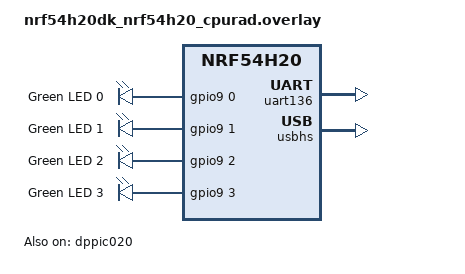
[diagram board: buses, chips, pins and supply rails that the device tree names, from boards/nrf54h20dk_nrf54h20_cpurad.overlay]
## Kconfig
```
#
# Copyright (c) 2020 Nordic Semiconductor
#
# SPDX-License-Identifier: LicenseRef-Nordic-5-Clause
#

source "Kconfig.zephyr"

menu "Enhanced ShockBurst: Receiver"

config ESB_PRX_APP_LOG_LEVEL
	int "Log level for the ESB PRX sample"
	default 4

config ESB_PRX_TX_LENGTH
	int "ACK payload length"
	range 0 ESB_MAX_PAYLOAD_LENGTH
	default 0

endmenu


menu "USB sample options"
	depends on USB_DEVICE_STACK_NEXT

config SAMPLE_USBD_MANUFACTURER
	string "USB device sample manufacturer string"
	default "Zephyr Project"
	help
	  USB device sample manufacturer string.

config SAMPLE_USBD_PRODUCT
	string "USB device sample product string"
	default "USBD sample"
	help
	  USB device sample product stringa.

config SAMPLE_USBD_PID
	hex "USB device sample Product ID"
	default 0x0001
	help
	  USB device sample Product ID.

config SAMPLE_USBD_SELF_POWERED
	bool "USB device sample Self-powered attribute"
	default y
	help
	  Set the Self-powered attribute in the sample configuration.

config SAMPLE_USBD_REMOTE_WAKEUP
	bool "USB device sample Remote Wakeup attribute"
	help
	  Set the Remote Wakeup attribute in the sample configuration.

config SAMPLE_USBD_MAX_POWER
	int "USB device sample bMaxPower value"
	default 125
	range 0 250
	help
	  bMaxPower value in the sample configuration in 2 mA units.

config SAMPLE_USBD_20_EXTENSION_DESC
	bool "Use default USB 2.0 Extension Descriptor"
	help
	  Set bcdUSB value to 0201 and use default USB 2.0 Extension Descriptor.

endmenu
```

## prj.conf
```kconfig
#
# Copyright (c) 2019 Nordic Semiconductor ASA
#
# SPDX-License-Identifier: LicenseRef-Nordic-5-Clause
#
CONFIG_NCS_SAMPLES_DEFAULTS=y
CONFIG_ESB=y
CONFIG_DK_LIBRARY=y
CONFIG_ESB_FAST_SWITCHING=y

# USB STACK NEXT
CONFIG_USB_DEVICE_STACK_NEXT=y
CONFIG_USBD_HID_SUPPORT=y
CONFIG_USBD_HID_IN_BUF_COUNT=256
CONFIG_USB_DEVICE_INITIALIZE_AT_BOOT=n
CONFIG_USBD_LOG_LEVEL_WRN=y
CONFIG_USBD_HID_LOG_LEVEL_WRN=y
CONFIG_UDC_DRIVER_LOG_LEVEL_WRN=y

CONFIG_SAMPLE_USBD_PID=0x0006
CONFIG_SAMPLE_USBD_MANUFACTURER="Nordic Semiconductor"
CONFIG_SAMPLE_USBD_PRODUCT="nRF54H20 HID"
CONFIG_NRFS_VBUS_DETECTOR_SERVICE_ENABLED=y

CONFIG_HWINFO=n
```

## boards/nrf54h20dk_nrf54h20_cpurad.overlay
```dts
/*
 * Copyright (c) 2024 Nordic Semiconductor ASA
 *
 * SPDX-License-Identifier: LicenseRef-Nordic-5-Clause
 */

 / {
	leds {
		compatible = "gpio-leds";

		led0: led_0 {
			gpios = < &gpio9 0 GPIO_ACTIVE_HIGH >;
			label = "Green LED 0";
		};

		led1: led_1 {
			gpios = < &gpio9 1 GPIO_ACTIVE_HIGH >;
			label = "Green LED 1";
		};

		led2: led_2 {
			gpios = < &gpio9 2 GPIO_ACTIVE_HIGH >;
			label = "Green LED 2";
		};

		led3: led_3 {
			gpios = < &gpio9 3 GPIO_ACTIVE_HIGH >;
			label = "Green LED 3";
		};
	};

	aliases {
		led0 = &led0;
		led1 = &led1;
		led2 = &led2;
		led3 = &led3;
	};

	chosen {
		zephyr,console = &uart136;
	};

	hid_dev_0: hid_dev_0 {
		compatible = "zephyr,hid-device";
		interface-name = "HID0";
		protocol-code = "mouse";
		in-polling-rate = <125>;
		in-report-size = <64>;
	};

};

&gpio9 {
	status = "okay";
};

&gpio0 {
	status = "okay";
};

&gpiote130 {
	owned-channels = <0 1 2 3 4 5 6 7>;
	status = "okay";
};

&uart136 {
	status = "okay";
	memory-regions = <&cpurad_dma_region>;
};

&uart135 {
	status = "disabled";
};

&dppic020 {
	status = "okay";
	source-channels = < 0 1 2 3 4 5 >;
	sink-channels = < 6 7 8 9 10 11 >;
};
zephyr_udc0: &usbhs {
	status = "okay";
};
```

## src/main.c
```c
/*
 * Copyright (c) 2018 Nordic Semiconductor ASA
 *
 * SPDX-License-Identifier: LicenseRef-Nordic-5-Clause
 */
#include <zephyr/device.h>
#include <zephyr/devicetree.h>
#if defined(CONFIG_CLOCK_CONTROL_NRF)
#include <zephyr/drivers/clock_control.h>
#include <zephyr/drivers/clock_control/nrf_clock_control.h>
#endif /* #if defined(CONFIG_CLOCK_CONTROL_NRF) */
#include <zephyr/drivers/timer/nrf_grtc_timer.h>
#include <zephyr/usb/usb_device.h>
#include <zephyr/usb/usbd.h>
// #include <zephyr/usb/class/usb_hid.h>
#include <zephyr/usb/class/usbd_hid.h>
#include <zephyr/drivers/gpio.h>
#include <zephyr/irq.h>
#include <zephyr/logging/log.h>
#include <nrf.h>
#include <esb.h>
#include <zephyr/kernel.h>
#include <zephyr/types.h>
#include <dk_buttons_and_leds.h>

LOG_MODULE_REGISTER(esb_prx, CONFIG_ESB_PRX_APP_LOG_LEVEL);

/* Print cycle time, in microseconds */
#define PRINT_CYCLE     1000000

struct print_msg {
	uint32_t rep_cnt;
	uint32_t drop_cnt;
};

#define USB_HID_MSG_REPORT      0
#define USB_HID_MSG_TIMER       1

struct usb_hid_msg {
	uint32_t type;
	uint8_t report[4];
};
static const struct gpio_dt_spec led0 = GPIO_DT_SPEC_GET(DT_ALIAS(led0), gpios);
static const struct gpio_dt_spec led3 = GPIO_DT_SPEC_GET(DT_ALIAS(led3), gpios);

static const uint8_t hid_report_desc[] = HID_MOUSE_REPORT_DESC(2);

static atomic_t usb_state = ATOMIC_INIT(0);
static K_SEM_DEFINE(report_sem, 0, 1);

static struct esb_payload rx_payload;
static struct esb_payload tx_payload = ESB_CREATE_PAYLOAD(0,
	0x10, 0x11, 0x12, 0x13, 0x14, 0x15, 0x16, 0x17);

#if CONFIG_ESB_PRX_TX_LENGTH > 0
static struct esb_payload tx_payload = ESB_CREATE_PAYLOAD(0, 0x00);

static void fill_tx_payload_data(struct esb_payload *payload)
{
	static uint8_t tx_data_next;
	uint8_t i;

	for (i = 0; i < CONFIG_ESB_PRX_TX_LENGTH; i++) {
		payload->data[i] = tx_data_next + i;
	}

	tx_data_next += CONFIG_ESB_PRX_TX_LENGTH;
}

static void fill_tx_fifo(void)
{
	int err;
#ifdef CONFIG_ESB_PRX_DATA_CHECK
	static bool tx_data_set;
#endif

	while (1) {
#ifdef CONFIG_ESB_PRX_DATA_CHECK
		if (!tx_data_set) {
			fill_tx_payload_data(&tx_payload);
		}
#endif

		err = esb_write_payload(&tx_payload);
#ifdef CONFIG_ESB_PRX_DATA_CHECK
		tx_data_set = (!err) ? false : true;
#endif
		if (err) {
			break;
		}
	}
}
#endif

K_MSGQ_DEFINE(print_msgq,
	      sizeof(struct print_msg),
	      1,
	      sizeof(uint32_t));

K_MSGQ_DEFINE(usb_hid_msgq,
	      sizeof(struct usb_hid_msg),
	      16,
	      sizeof(uint32_t));

static struct k_thread print_thread;

static K_THREAD_STACK_DEFINE(print_stack, 512);

static int32_t timer_chan;
static uint64_t timer_tick;

static int timer_target_set(void);

void event_handler(struct esb_evt const *event)
{
	int err;

	switch (event->evt_id) {
	case ESB_EVENT_TX_SUCCESS:
		break;
	case ESB_EVENT_TX_FAILED:
		break;
	case ESB_EVENT_RX_RECEIVED:
		while (!esb_read_rx_payload(&rx_payload)) {
			struct usb_hid_msg msg;

			if (rx_payload.length >= sizeof(msg.report) &&
			    atomic_test_bit(&usb_state, 0)) {
				msg.type = USB_HID_MSG_REPORT;
				memcpy(msg.report,
				       rx_payload.data,
				       sizeof(msg.report));
				err = k_msgq_put(&usb_hid_msgq, &msg, K_NO_WAIT);
				if (err) {
				}
			}
		}
        break;
	}
}

#if defined(CONFIG_CLOCK_CONTROL_NRF)
int clocks_start(void)
{
	int err;
	int res;
	struct onoff_manager *clk_mgr;
	struct onoff_client clk_cli;

	clk_mgr = z_nrf_clock_control_get_onoff(CLOCK_CONTROL_NRF_SUBSYS_HF);
	if (!clk_mgr) {
		LOG_ERR("Unable to get the Clock manager");
		return -ENXIO;
	}

	sys_notify_init_spinwait(&clk_cli.notify);

	err = onoff_request(clk_mgr, &clk_cli);
	if (err < 0) {
		LOG_ERR("Clock request failed: %d", err);
		return err;
	}

	do {
		err = sys_notify_fetch_result(&clk_cli.notify, &res);
		if (!err && res) {
			LOG_ERR("Clock could not be started: %d", res);
			return res;
		}
	} while (err);

	LOG_DBG("HF clock started");
	return 0;
}
#endif /* #if defined(CONFIG_CLOCK_CONTROL_NRF) */

int esb_initialize(void)
{
	int err;
	/* These are arbitrary default addresses. In end user products
	 * different addresses should be used for each set of devices.
	 */
	uint8_t base_addr_0[4] = {0xE7, 0xE7, 0xE7, 0xE7};
	uint8_t base_addr_1[4] = {0xC2, 0xC2, 0xC2, 0xC2};
	uint8_t addr_prefix[8] = {0xE7, 0xC2, 0xC3, 0xC4, 0xC5, 0xC6, 0xC7, 0xC8};

	struct esb_config config = ESB_DEFAULT_CONFIG;

	config.protocol = ESB_PROTOCOL_ESB_DPL;
	config.bitrate = ESB_BITRATE_4MBPS;
	config.mode = ESB_MODE_PRX;
	config.event_handler = event_handler;
	config.crc = ESB_CRC_24BIT;
	config.selective_auto_ack = true;
	if (IS_ENABLED(CONFIG_ESB_FAST_SWITCHING)) {
		config.use_fast_ramp_up = true;
	}

	err = esb_init(&config);
	if (err) {
		return err;
	}

	err = esb_set_base_address_0(base_addr_0);
	if (err) {
		return err;
	}

	err = esb_set_base_address_1(base_addr_1);
	if (err) {
		return err;
	}

	err = esb_set_prefixes(addr_prefix, ARRAY_SIZE(addr_prefix));
	if (err) {
		return err;
	}

	err = esb_set_rf_channel(80);
	if (err) {
		return err;
	}

	return 0;
}

static void timer_compare_handler(int32_t chan_id,
				  uint64_t expire_time,
				  void *user_data)
{
	timer_target_set();

	struct usb_hid_msg  msg;
	int err;

	msg.type = USB_HID_MSG_TIMER;
	err = k_msgq_put(&usb_hid_msgq, &msg, K_NO_WAIT);
	if (err) {
		LOG_ERR("Cannot put TIMER count to message queue");
	}
}

static int timer_target_set(void)
{
	int err;

	timer_tick += PRINT_CYCLE; // TODO: convert microseconds to timer tick

	err = z_nrf_grtc_timer_set(timer_chan,
				   timer_tick,
				   timer_compare_handler,
				   NULL);

	return err;
}

static void print_main(void *p1, void *p2, void *p3)
{
	struct print_msg msg;

	/* Process message queue */
	while (!k_msgq_get(&print_msgq, &msg, K_FOREVER)) {
		LOG_INF("Sent %u HID reports. Dropped %u reports.",
			msg.rep_cnt, msg.drop_cnt);
	}
}

static void status_cb(enum usb_dc_status_code status, const uint8_t *param)
{
	if (status == USB_DC_CONFIGURED) {
		atomic_set_bit(&usb_state, 0);
	} else {
		atomic_clear_bit(&usb_state, 0);
	}
}

static uint32_t idle_duration;

void user_sof(const struct device *dev)
{
	// gpio_pin_toggle(led3.port, led3.pin);
	k_sem_give(&report_sem);
}

static void iface_ready_next(const struct device *dev, const bool ready)
{
	return;
}

static int get_report_next(const struct device *dev, const uint8_t type, const uint8_t id,
			   const uint16_t len, uint8_t *const buf)
{
	return len;
}

static int set_report_next(const struct device *dev, const uint8_t type, const uint8_t id,
			   const uint16_t len, const uint8_t *const buf)
{
	return len;
}
static void set_idle_next(const struct device *dev, const uint8_t id, const uint32_t duration)
{
	idle_duration = duration;
}

static uint32_t get_idle_next(const struct device *dev, const uint8_t id)
{
	return idle_duration;
}

static void report_sent_cb_next(const struct device *dev)
{
	return;
}
static void protocol_change(const struct device *dev, uint8_t protocol)
{
	return;
}
#if defined(CONFIG_USB_DEVICE_STACK_NEXT)
static int enable_usb_device_next(void)
{
	struct usbd_context *sample_usbd;
	int err;

	sample_usbd = sample_usbd_init_device(NULL);
	if (sample_usbd == NULL) {
		LOG_ERR("Failed to initialize USB device");
		return -ENODEV;
	}

	err = usbd_enable(sample_usbd);
	if (err) {
		LOG_ERR("Failed to enable device support");
		return err;
	}

	LOG_DBG("USB device support enabled");

	return 0;
}
#endif /* IS_ENABLED(CONFIG_USB_DEVICE_STACK_NEXT) */

static void usb_hid_main(void)
{
	int err;
	const struct device *hid_dev;
	struct usb_hid_msg msg;
	static const struct hid_device_ops my_ops = {
		.iface_ready = iface_ready_next,
		.get_report = get_report_next,
		.set_report = set_report_next,
		.set_idle = set_idle_next,
		.get_idle = get_idle_next,
		.set_protocol = protocol_change,
		.input_report_done = report_sent_cb_next,
		.sof = user_sof,

	};

#if defined(CONFIG_USB_DEVICE_STACK_NEXT)
	hid_dev = DEVICE_DT_GET_ONE(zephyr_hid_device);
#else
	hid_dev = device_get_binding("HID_0");
#endif

	// usb_hid_register_device(hid_dev,
	// 			hid_report_desc, sizeof(hid_report_desc),
	// 			&my_ops);

	hid_device_register(hid_dev, hid_report_desc, sizeof(hid_report_desc), &my_ops);

	usb_hid_init(hid_dev);

#if defined(CONFIG_USB_DEVICE_STACK_NEXT)
	err = enable_usb_device_next();
#else
	err = usb_enable(status_cb);
#endif
	if (err) {
		LOG_ERR("Failed to enable USB");
		return;
	}

	uint32_t hid_rep_cnt = 0;
	uint32_t hid_drop_cnt = 0;
	struct print_msg prt_msg;
	uint32_t bytes_ret;

	atomic_set_bit(&usb_state, 0);

	/* Process message queue */
	while (!k_msgq_get(&usb_hid_msgq, &msg, K_FOREVER)) {
		switch(msg.type) {
		case USB_HID_MSG_REPORT:
			k_sem_take(&report_sem, K_FOREVER);
			{
			// if (atomic_test_bit(&usb_state, 0)) {
				err = hid_int_ep_write(hid_dev,
						       msg.report,
						       sizeof(msg.report),
						       &bytes_ret);
				if (!err && bytes_ret == sizeof(msg.report)) {
					hid_rep_cnt++;
				} else {
					hid_drop_cnt++;
				}
			}
			break;
		case USB_HID_MSG_TIMER:
			prt_msg.rep_cnt = hid_rep_cnt;
			hid_rep_cnt = 0;
			prt_msg.drop_cnt = hid_drop_cnt;
			hid_drop_cnt = 0;
			// err = k_msgq_put(&print_msgq, &prt_msg, K_NO_WAIT);
			// if (err) {
			// 	LOG_ERR("Cannot put PRX statistics to message queue");
			// }
			break;
		default:
			break;
		}
	}
}

int main(void)
{
	int err;

	LOG_INF("Enhanced ShockBurst prx sample");

#if defined(CONFIG_CLOCK_CONTROL_NRF)
	err = clocks_start();
	if (err) {
		return 0;
	}
#endif /* #if defined(CONFIG_CLOCK_CONTROL_NRF) */

	err = gpio_pin_configure_dt(&led3, GPIO_OUTPUT);
	if (err < 0) {
		LOG_ERR("Failed to configure the LED pin, error: %d", err);
		return 0;
	}
	err = esb_initialize();
	if (err) {
		LOG_ERR("ESB initialization failed, err %d", err);
		return 0;
	}

	k_thread_create(&print_thread,
			print_stack,
			K_THREAD_STACK_SIZEOF(print_stack),
			print_main,
			NULL,
			NULL,
			NULL,
			K_LOWEST_APPLICATION_THREAD_PRIO,
			0,
			K_NO_WAIT);

	timer_chan = z_nrf_grtc_timer_chan_alloc();
	if (timer_chan < 0) {
		LOG_ERR("Cannot get a timer channel");
		return 0;
	}

	LOG_INF("Initialization complete");

	err = esb_write_payload(&tx_payload);
	if (err) {
		LOG_ERR("Write payload, err %d", err);
		return 0;
	}

	LOG_INF("Print packet counts every %u.%02u seconds",
		PRINT_CYCLE / USEC_PER_SEC,
		(PRINT_CYCLE % USEC_PER_SEC) * 100 / USEC_PER_SEC);

	LOG_INF("Setting up for packet receiption");

	timer_tick = z_nrf_grtc_timer_read();
	timer_target_set();

	err = esb_start_rx();
	if (err) {
		LOG_ERR("RX setup failed, err %d", err);
		return 0;
	}

	usb_hid_main();

	LOG_WRN("main loop exited");

	/* return to idle thread */
	return 0;
}
```
